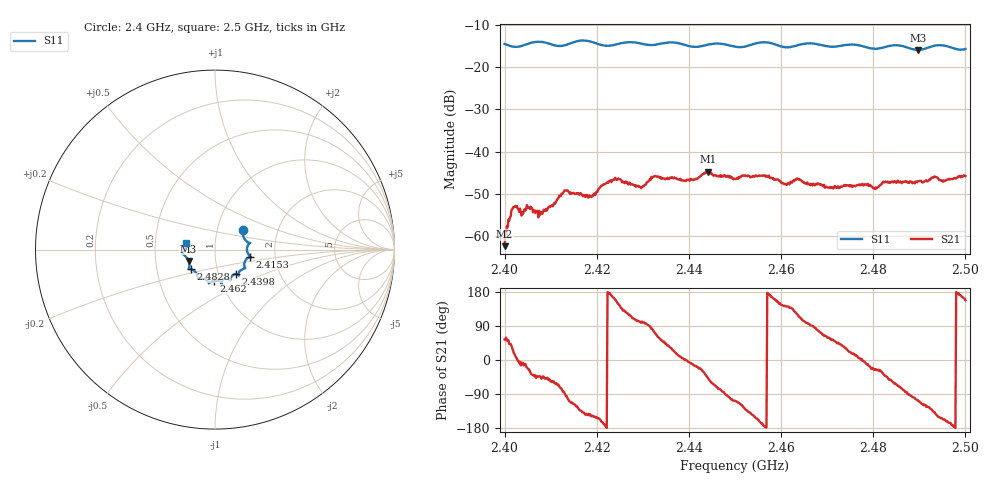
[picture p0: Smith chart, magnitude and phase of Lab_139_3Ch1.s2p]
# Hz S RI R 50
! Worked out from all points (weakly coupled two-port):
!   601 points, 2.4 GHz to 2.5 GHz, reference 50 ohm
!   highest |S21| = -44.74 dB at 2.4442 GHz (marker M1); lowest = -62.4 dB at 2.4 GHz (marker M2)
!   lowest |S11| = -15.9 dB at 2.4897 GHz (marker M3), VSWR 1.38, Z = 36.9 - j4.82 ohm
!   |S11| at or under -10 dB: start of sweep to end of sweep
!   S12 and S22 are empty: the file has one direction only
!   S11 on the Smith chart (normalised r, x): 2.4 GHz: 1.33, +0.29; 2.4153 GHz: 1.48, -0.12; 2.4398 GHz: 1.21, -0.34; 2.462 GHz: 0.93, -0.33; 2.4828 GHz: 0.74, -0.17; 2.5 GHz: 0.72, +0.06
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2.4e9  0.1553 0.1067  0.000444 0.000615  0 0  0 0
2.401333e9  0.1555 0.0854  0.00129 0.00114  0 0  0 0
2.402167e9  0.1584 0.0716  0.00212 0.00058  0 0  0 0
2.407833e9  0.1958 0.0377  0.00137 -0.00136  0 0  0 0
2.413167e9  0.1816 -0.0168  -4.87e-05 -0.00347  0 0  0 0
2.415333e9  0.1963 -0.0389  -0.00151 -0.00276  0 0  0 0
2.416667e9  0.2023 -0.0426  -0.00217 -0.00221  0 0  0 0
2.419167e9  0.1928 -0.0422  -0.0025 -0.00162  0 0  0 0
2.424167e9  0.1629 -0.0888  -0.00435 0.00184  0 0  0 0
2.429667e9  0.1566 -0.1081  -0.000537 0.00364  0 0  0 0
2.433333e9  0.1308 -0.1336  0.00249 0.00443  0 0  0 0
2.439833e9  0.1154 -0.136  0.00462 -0.000364  0 0  0 0
2.444167e9  0.0852 -0.1642  0.00381 -0.00437  0 0  0 0
2.45e9  0.0651 -0.1625  -0.00143 -0.00452  0 0  0 0
2.456e9  0.0381 -0.1935  -0.00513 -0.000942  0 0  0 0
2.462e9  -0.00507 -0.1728  -0.00324 0.00293  0 0  0 0
2.466667e9  -0.0343 -0.1881  -4.66e-05 0.00402  0 0  0 0
2.4805e9  -0.1141 -0.1191  0.00339 -0.00164  0 0  0 0
2.482833e9  -0.1364 -0.1091  0.00318 -0.00299  0 0  0 0
2.483333e9  -0.1403 -0.1088  0.00273 -0.00331  0 0  0 0
2.489667e9  -0.1469 -0.0635  -0.00122 -0.00429  0 0  0 0
2.5e9  -0.1591 0.0389  -0.00476 0.00191  0 0  0 0
